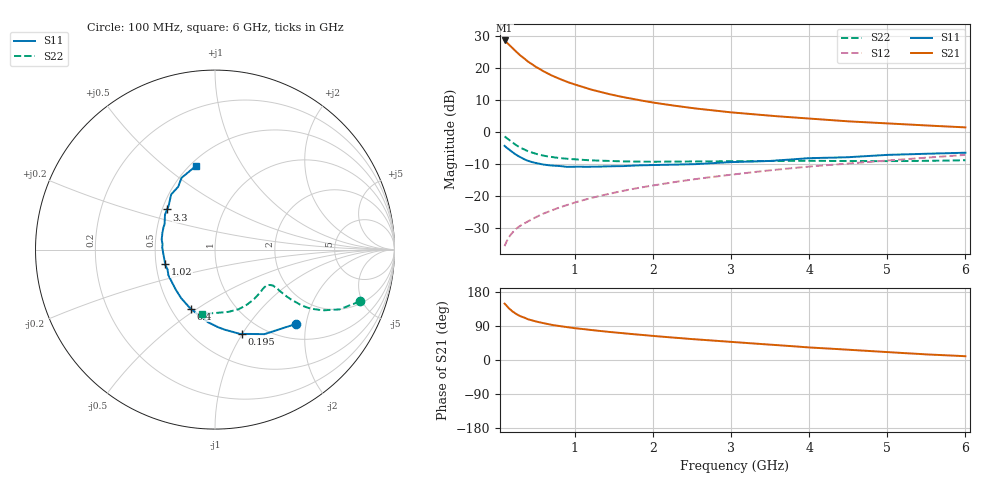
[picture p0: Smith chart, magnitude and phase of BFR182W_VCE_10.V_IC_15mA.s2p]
! Infineon Technologies  Discrete & RF Semiconductors
! BFR182W
! VCE =  10. V,  IC =  15 mA
! Common Emitter S-Parameters:  Nov 2015
# GHz  S  MA  R  50
!  f  S11  S21  S12  S22
! GHz  MAG  ANG  MAG  ANG  MAG  ANG  MAG  ANG
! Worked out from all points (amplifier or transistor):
!   192 points, 100 MHz to 6 GHz, reference 50 ohm
!   highest |S21| = 28.7 dB at 100 MHz (marker M1)
!   |S21| within 3 dB of that: start of sweep to 227.1 MHz
!   unconditionally stable (mu >= 1): 914.9 MHz to 2.826 GHz
!   at 440 MHz: K = 0.79, MSG = 24.4 dB, |S12| = -27.4 dB
!   at 1.7 GHz: K = 1.05, MAG = 13.0 dB, |S12| = -18.0 dB
!   at 6 GHz: K = 0.81, MSG = 4.3 dB, |S12| = -7.1 dB
!   S11 on the Smith chart (normalised r, x): 100 MHz: 1.32, -1.75; 195 MHz: 0.80, -1.00; 400 MHz: 0.62, -0.47; 1.02 GHz: 0.56, -0.10; 3.3 GHz: 0.53, +0.27; 6 GHz: 0.54, +0.64
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0.1  0.6121 -42.6  27.14 148.7  0.0165 71.0  0.8567 -19.7
0.15  0.5461 -59.6  23.75 137.1  0.0224 66.7  0.7691 -25.7
0.195  0.4936 -72.1  20.96 129.1  0.0264 64.8  0.6974 -29.0
0.2  0.4894 -73.6  20.68 128.1  0.0268 64.6  0.6896 -29.4
0.24  0.4496 -83.0  18.55 122.7  0.0302 62.9  0.6362 -31.3
0.26  0.4339 -87.4  17.6 120.2  0.0317 62.5  0.6132 -32.0
0.3  0.4072 -95.3  15.88 115.7  0.0343 62.4  0.5739 -32.8
0.4  0.3564 -112.5  12.67 107.4  0.0403 63.0  0.5021 -33.3
0.5  0.3296 -125.0  10.49 101.5  0.0468 64.1  0.4579 -33.0
0.6  0.3113 -135.1  8.92 96.9  0.0535 65.3  0.4282 -32.6
0.7  0.301 -143.4  7.72 92.9  0.0596 66.3  0.4088 -32.0
0.8  0.2962 -151.3  6.837 89.6  0.0662 67.4  0.3942 -32.0
1.02  0.2892 -163.5  5.459 83.5  0.0808 68.6  0.3743 -32.2
1.1  0.2878 -167.3  5.101 81.8  0.0862 68.8  0.369 -32.4
1.2  0.2878 -172.2  4.662 79.2  0.093 69.1  0.3625 -32.8
1.5  0.2942 177.9  3.782 72.8  0.1127 69.1  0.3521 -34.9
2.08  0.3079 161.8  2.807 62.2  0.1523 68.4  0.3454 -40.3
3.1  0.3427 143.2  1.99 46.2  0.2235 64.9  0.3517 -53.8
3.3  0.3483 140.0  1.896 43.4  0.2384 64.1  0.3528 -57.0
4.1  0.3944 126.8  1.598 32.0  0.2964 59.7  0.3559 -70.1
5.1  0.4444 113.5  1.352 19.6  0.3677 54.1  0.3526 -87.9
6  0.4768 103.1  1.188 10.0  0.4411 49.1  0.3641 -101.9
